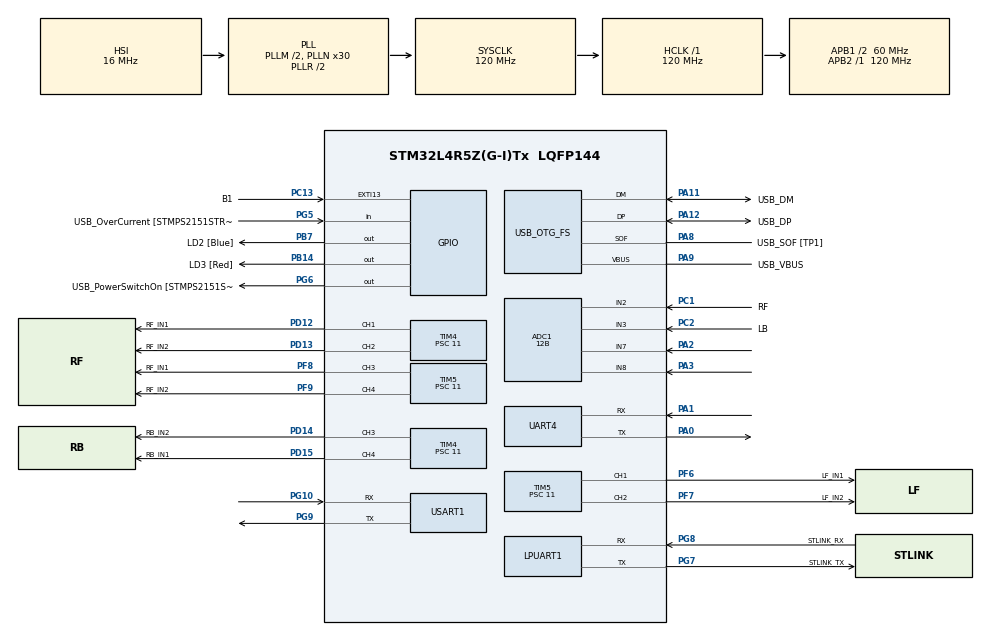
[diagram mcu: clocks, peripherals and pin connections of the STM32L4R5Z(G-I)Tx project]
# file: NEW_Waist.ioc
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ADC1.Channel-1\#ChannelRegularConversion=ADC_CHANNEL_2
ADC1.Channel-2\#ChannelRegularConversion=ADC_CHANNEL_3
ADC1.Channel-3\#ChannelRegularConversion=ADC_CHANNEL_7
ADC1.Channel-4\#ChannelRegularConversion=ADC_CHANNEL_8
ADC1.ClockPrescaler=ADC_CLOCK_ASYNC_DIV4
ADC1.ContinuousConvMode=ENABLE
ADC1.DMAContinuousRequests=ENABLE
ADC1.EOCSelection=ADC_EOC_SEQ_CONV
ADC1.NbrOfConversion=4
ADC1.NbrOfConversionFlag=1
ADC1.OffsetNumber-1\#ChannelRegularConversion=ADC_OFFSET_NONE
ADC1.OffsetNumber-2\#ChannelRegularConversion=ADC_OFFSET_NONE
ADC1.OffsetNumber-3\#ChannelRegularConversion=ADC_OFFSET_NONE
ADC1.OffsetNumber-4\#ChannelRegularConversion=ADC_OFFSET_NONE
ADC1.Overrun=ADC_OVR_DATA_OVERWRITTEN
ADC1.Rank-1\#ChannelRegularConversion=1
ADC1.Rank-2\#ChannelRegularConversion=2
ADC1.Rank-3\#ChannelRegularConversion=3
ADC1.Rank-4\#ChannelRegularConversion=4
ADC1.Resolution=ADC_RESOLUTION_12B
ADC1.SamplingTime-1\#ChannelRegularConversion=ADC_SAMPLETIME_24CYCLES_5
ADC1.SamplingTime-2\#ChannelRegularConversion=ADC_SAMPLETIME_24CYCLES_5
ADC1.SamplingTime-3\#ChannelRegularConversion=ADC_SAMPLETIME_2CYCLES_5
ADC1.SamplingTime-4\#ChannelRegularConversion=ADC_SAMPLETIME_2CYCLES_5
ADC1.master=1
Dma.ADC1.0.Direction=DMA_PERIPH_TO_MEMORY
Dma.ADC1.0.EventEnable=DISABLE
Dma.ADC1.0.Instance=DMA1_Channel1
Dma.ADC1.0.MemDataAlignment=DMA_MDATAALIGN_HALFWORD
Dma.ADC1.0.MemInc=DMA_MINC_ENABLE
Dma.ADC1.0.Mode=DMA_CIRCULAR
Dma.ADC1.0.PeriphDataAlignment=DMA_PDATAALIGN_HALFWORD
Dma.ADC1.0.PeriphInc=DMA_PINC_DISABLE
Dma.ADC1.0.Polarity=HAL_DMAMUX_REQUEST_GEN_RISING
Dma.ADC1.0.Priority=DMA_PRIORITY_LOW
Dma.ADC1.0.RequestNumber=1
Dma.ADC1.0.SignalID=NONE
Dma.ADC1.0.SyncEnable=DISABLE
Dma.ADC1.0.SyncPolarity=HAL_DMAMUX_SYNC_NO_EVENT
Dma.ADC1.0.SyncRequestNumber=1
Dma.ADC1.0.SyncSignalID=NONE
Dma.LPUART1_RX.1.Direction=DMA_PERIPH_TO_MEMORY
Dma.LPUART1_RX.1.EventEnable=DISABLE
Dma.LPUART1_RX.1.Instance=DMA1_Channel2
Dma.LPUART1_RX.1.MemDataAlignment=DMA_MDATAALIGN_BYTE
Dma.LPUART1_RX.1.MemInc=DMA_MINC_ENABLE
Dma.LPUART1_RX.1.Mode=DMA_NORMAL
Dma.LPUART1_RX.1.PeriphDataAlignment=DMA_PDATAALIGN_BYTE
Dma.LPUART1_RX.1.PeriphInc=DMA_PINC_DISABLE
Dma.LPUART1_RX.1.Polarity=HAL_DMAMUX_REQUEST_GEN_RISING
Dma.LPUART1_RX.1.Priority=DMA_PRIORITY_LOW
Dma.LPUART1_RX.1.RequestNumber=1
Dma.LPUART1_RX.1.SignalID=NONE
Dma.LPUART1_RX.1.SyncEnable=DISABLE
Dma.LPUART1_RX.1.SyncPolarity=HAL_DMAMUX_SYNC_NO_EVENT
Dma.LPUART1_RX.1.SyncRequestNumber=1
Dma.LPUART1_RX.1.SyncSignalID=NONE
Dma.Request0=ADC1
Dma.Request1=LPUART1_RX
FREERTOS.Tasks01=defaultTask,24,128,StartDefaultTask,Default,NULL,Dynamic,NULL,NULL;pidControlTask,48,128,ControlFunction,Default,NULL,Dynamic,NULL,NULL
FREERTOS.configENABLE_FPU=1
FREERTOS.configTOTAL_HEAP_SIZE=1024*50
LPUART1.WordLength=UART_WORDLENGTH_8B
Mcu.Family=STM32L4
Mcu.Name=STM32L4R5Z(G-I)Tx
Mcu.Package=LQFP144
NVIC.ADC1_IRQn=true\:5\:0\:false\:false\:true\:true\:true\:true\:true
NVIC.DMA1_Channel1_IRQn=true\:10\:0\:true\:false\:true\:true\:true\:true\:true
NVIC.LPUART1_IRQn=true\:8\:0\:true\:false\:true\:true\:true\:true\:true
NVIC.PriorityGroup=NVIC_PRIORITYGROUP_4
NVIC.TIM6_DAC_IRQn=true\:15\:0\:false\:false\:true\:false\:false\:true\:true
NVIC.TimeBase=TIM6_DAC_IRQn
NVIC.TimeBaseIP=TIM6
NVIC.UART4_IRQn=true\:7\:0\:true\:false\:true\:true\:true\:true\:true
NVIC.USART1_IRQn=true\:7\:0\:true\:false\:true\:true\:true\:true\:true
PA0.Mode=Asynchronous
PA0.Signal=UART4_TX
PA1.Mode=Asynchronous
PA1.Signal=UART4_RX
PA10.GPIO_Label=USB_ID
PA10.Signal=USB_OTG_FS_ID
PA11.GPIO_Label=USB_DM
PA11.Mode=Device_Only
PA11.Signal=USB_OTG_FS_DM
PA12.GPIO_Label=USB_DP
PA12.Mode=Device_Only
PA12.Signal=USB_OTG_FS_DP
PA13\ (JTMS/SWDIO).GPIO_Label=TMS
PA13\ (JTMS/SWDIO).Mode=Trace_Asynchronous_SW
PA13\ (JTMS/SWDIO).Signal=SYS_JTMS-SWDIO
PA14\ (JTCK/SWCLK).GPIO_Label=TCK
PA14\ (JTCK/SWCLK).Mode=Trace_Asynchronous_SW
PA14\ (JTCK/SWCLK).Signal=SYS_JTCK-SWCLK
PA2.Signal=ADCx_IN7
PA3.Signal=ADCx_IN8
PA8.GPIO_Label=USB_SOF [TP1]
PA8.Mode=Activate_SOF_FS
PA8.Signal=USB_OTG_FS_SOF
PA9.GPIO_Label=USB_VBUS
PA9.Mode=Activate_VBUS
PA9.Signal=USB_OTG_FS_VBUS
PB14.GPIO_Label=LD3 [Red]
PB14.Signal=GPIO_Output
PB3\ (JTDO/TRACESWO).GPIO_Label=SWO
PB3\ (JTDO/TRACESWO).Mode=Trace_Asynchronous_SW
PB3\ (JTDO/TRACESWO).Signal=SYS_JTDO-SWO
PB7.GPIO_Label=LD2 [Blue]
PB7.Signal=GPIO_Output
PC1.GPIO_Label=RF
PC1.Signal=ADCx_IN2
PC13.GPIO_Label=B1
PC13.Signal=GPXTI13
PC14-OSC32_IN\ (PC14).Mode=LSE-External-Oscillator
PC14-OSC32_IN\ (PC14).Signal=RCC_OSC32_IN
PC15-OSC32_OUT\ (PC15).Mode=LSE-External-Oscillator
PC15-OSC32_OUT\ (PC15).Signal=RCC_OSC32_OUT
PC2.GPIO_Label=LB
PC2.Signal=ADCx_IN3
PD12.GPIO_Label=RF_IN1
PD12.GPIO_Speed=GPIO_SPEED_FREQ_HIGH
PD12.Signal=S_TIM4_CH1
PD13.GPIO_Label=RF_IN2
PD13.GPIO_Speed=GPIO_SPEED_FREQ_HIGH
PD13.Signal=S_TIM4_CH2
PD14.GPIO_Label=RB_IN2
PD14.GPIO_Speed=GPIO_SPEED_FREQ_HIGH
PD14.Signal=S_TIM4_CH3
PD15.GPIO_Label=RB_IN1
PD15.GPIO_Speed=GPIO_SPEED_FREQ_HIGH
PD15.Signal=S_TIM4_CH4
PD8.GPIO_Label=STLK_RX [STM32F103CBT6_PA3]
PD8.Signal=USART3_TX
PF6.GPIO_Label=LF_IN1
PF6.GPIO_Speed=GPIO_SPEED_FREQ_HIGH
PF6.Signal=S_TIM5_CH1
PF7.GPIO_Label=LF_IN2
PF7.GPIO_Speed=GPIO_SPEED_FREQ_HIGH
PF7.Signal=S_TIM5_CH2
PF8.GPIO_Label=RF_IN1
PF8.GPIO_Speed=GPIO_SPEED_FREQ_HIGH
PF8.Signal=S_TIM5_CH3
PF9.GPIO_Label=RF_IN2
PF9.GPIO_Speed=GPIO_SPEED_FREQ_HIGH
PF9.Signal=S_TIM5_CH4
PG10.Mode=Asynchronous
PG10.Signal=USART1_RX
PG5.GPIO_Label=USB_OverCurrent [STMPS2151STR_FAULT]
PG5.Signal=GPIO_Input
PG6.GPIO_Label=USB_PowerSwitchOn [STMPS2151STR_EN]
PG6.Signal=GPIO_Output
PG7.GPIO_Label=STLINK_TX
PG7.Mode=Asynchronous
PG7.Signal=LPUART1_TX
PG8.GPIO_Label=STLINK_RX
PG8.Mode=Asynchronous
PG8.Signal=LPUART1_RX
PG9.Mode=Asynchronous
PG9.Signal=USART1_TX
PH0-OSC_IN\ (PH0).Signal=RCC_OSC_IN
PH1-OSC_OUT\ (PH1).Signal=RCC_OSC_OUT
ProjectManager.HeapSize=0x200
ProjectManager.StackSize=0x400
ProjectManager.TargetToolchain=MDK-ARM V5.32
RCC.48MHZClocksFreq_Value=24000000
RCC.ADCFreq_Value=96000000
RCC.AHBFreq_Value=120000000
RCC.APB1CLKDivider=RCC_HCLK_DIV2
RCC.APB1Freq_Value=60000000
RCC.APB1TimFreq_Value=120000000
RCC.APB2Freq_Value=120000000
RCC.APB2TimFreq_Value=120000000
RCC.CK48CLockSelection=RCC_USBCLKSOURCE_HSI48
RCC.CortexFreq_Value=120000000
RCC.HCLKFreq_Value=120000000
RCC.HSE_VALUE=8000000
RCC.HSI48_VALUE=48000000
RCC.HSI_VALUE=16000000
RCC.MSI_VALUE=4000000
RCC.PLLM1=2
RCC.PLLMUL=RCC_PLL_MUL9
RCC.PLLN=30
RCC.PLLSAI1N=12
RCC.PLLSourceVirtual=RCC_PLLSOURCE_HSI
RCC.PRESCALERUSB=RCC_USBCLKSOURCE_PLL_DIV1_5
RCC.SYSCLKFreq_VALUE=120000000
RCC.SYSCLKSource=RCC_SYSCLKSOURCE_PLLCLK
RCC.SYSCLKSourceVirtual=RCC_SYSCLKSOURCE_PLLCLK
RCC.USBFreq_Value=48000000
RCC.VCOOutputFreq_Value=240000000
SH.ADCx_IN2.0=ADC1_IN2,IN2-Single-Ended
SH.ADCx_IN3.0=ADC1_IN3,IN3-Single-Ended
SH.ADCx_IN7.0=ADC1_IN7,IN7-Single-Ended
SH.ADCx_IN8.0=ADC1_IN8,IN8-Single-Ended
SH.S_TIM4_CH1.0=TIM4_CH1,PWM Generation1 CH1
SH.S_TIM4_CH2.0=TIM4_CH2,PWM Generation2 CH2
SH.S_TIM4_CH3.0=TIM4_CH3,PWM Generation3 CH3
SH.S_TIM4_CH4.0=TIM4_CH4,PWM Generation4 CH4
SH.S_TIM5_CH1.0=TIM5_CH1,PWM Generation1 CH1
SH.S_TIM5_CH2.0=TIM5_CH2,PWM Generation2 CH2
SH.S_TIM5_CH3.0=TIM5_CH3,PWM Generation3 CH3
SH.S_TIM5_CH4.0=TIM5_CH4,PWM Generation4 CH4
TIM4.Channel-PWM\ Generation1\ CH1=TIM_CHANNEL_1
TIM4.Channel-PWM\ Generation2\ CH2=TIM_CHANNEL_2
TIM4.Channel-PWM\ Generation3\ CH3=TIM_CHANNEL_3
TIM4.Channel-PWM\ Generation4\ CH4=TIM_CHANNEL_4
TIM4.OCMode_PWM-PWM\ Generation1\ CH1=TIM_OCMODE_PWM1
TIM4.OCMode_PWM-PWM\ Generation2\ CH2=TIM_OCMODE_PWM1
TIM4.OCMode_PWM-PWM\ Generation3\ CH3=TIM_OCMODE_PWM1
TIM4.OCMode_PWM-PWM\ Generation4\ CH4=TIM_OCMODE_PWM1
TIM4.Period=1000-1
TIM4.Prescaler=11
TIM5.Channel-PWM\ Generation1\ CH1=TIM_CHANNEL_1
TIM5.Channel-PWM\ Generation2\ CH2=TIM_CHANNEL_2
TIM5.Channel-PWM\ Generation3\ CH3=TIM_CHANNEL_3
TIM5.Channel-PWM\ Generation4\ CH4=TIM_CHANNEL_4
TIM5.Period=999
TIM5.Prescaler=11
USART1.VirtualMode-Asynchronous=VM_ASYNC
USB_OTG_FS.VirtualMode=Device_Only
VP_ADC1_Vref_Input.Mode=IN-Vrefint
VP_FREERTOS_VS_CMSIS_V2.Mode=CMSIS_V2
VP_SYS_VS_tim6.Mode=TIM6
board=NUCLEO-L4R5ZI

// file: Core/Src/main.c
/* USER CODE BEGIN Header */
/**
  ******************************************************************************
  * @file           : main.c
  * @brief          : Main program body
  ******************************************************************************
  * @attention
  *
  * Copyright (c) 2026 STMicroelectronics.
  * All rights reserved.
  *
  * This software is licensed under terms that can be found in the LICENSE file
  * in the root directory of this software component.
  * If no LICENSE file comes with this software, it is provided AS-IS.
  *
  ******************************************************************************
  */
/* USER CODE END Header */
#include "main.h"
#include "cmsis_os.h"
#include "adc.h"
#include "dma.h"
#include "usart.h"
#include "tim.h"
#include "usb_otg.h"
#include "gpio.h"

/* USER CODE BEGIN Includes */
#include "driver_shell.h"
/* USER CODE END Includes */

/* USER CODE BEGIN PV */
uint8_t shell_buff[64];
/* USER CODE END PV */

void SystemClock_Config(void);
void MX_FREERTOS_Init(void);

int main(void)
{

  /* MCU Configuration--------------------------------------------------------*/

  /* Reset of all peripherals, Initializes the Flash interface and the Systick. */
  HAL_Init();

  /* Configure the system clock */
  SystemClock_Config();

  /* Initialize all configured peripherals */
  MX_GPIO_Init();
  MX_DMA_Init();
  MX_ADC1_Init();
  MX_LPUART1_UART_Init();
  MX_TIM4_Init();
  MX_USB_OTG_FS_PCD_Init();
  MX_UART4_Init();
  MX_TIM5_Init();
  MX_USART1_UART_Init();
  /* USER CODE BEGIN 2 */
	HAL_UARTEx_ReceiveToIdle_DMA(&hlpuart1, shell_buff, sizeof(shell_buff));
  /* USER CODE END 2 */

  /* Init scheduler */
  osKernelInitialize();

  /* Call init function for freertos objects (in cmsis_os2.c) */
  MX_FREERTOS_Init();

  /* Start scheduler */
  osKernelStart();

  /* We should never get here as control is now taken by the scheduler */

  /* Infinite loop */
  while (1)
  {

  }
}

void SystemClock_Config(void)
{
  RCC_OscInitTypeDef RCC_OscInitStruct = {0};
  RCC_ClkInitTypeDef RCC_ClkInitStruct = {0};

  /** Configure the main internal regulator output voltage
  */
  if (HAL_PWREx_ControlVoltageScaling(PWR_REGULATOR_VOLTAGE_SCALE1_BOOST) != HAL_OK)
  {
    Error_Handler();
  }

  /** Initializes the RCC Oscillators according to the specified parameters
  * in the RCC_OscInitTypeDef structure.
  */
  RCC_OscInitStruct.OscillatorType = RCC_OSCILLATORTYPE_HSI48|RCC_OSCILLATORTYPE_HSI;
  RCC_OscInitStruct.HSIState = RCC_HSI_ON;
  RCC_OscInitStruct.HSI48State = RCC_HSI48_ON;
  RCC_OscInitStruct.HSICalibrationValue = RCC_HSICALIBRATION_DEFAULT;
  RCC_OscInitStruct.PLL.PLLState = RCC_PLL_ON;
  RCC_OscInitStruct.PLL.PLLSource = RCC_PLLSOURCE_HSI;
  RCC_OscInitStruct.PLL.PLLM = 2;
  RCC_OscInitStruct.PLL.PLLN = 30;
  RCC_OscInitStruct.PLL.PLLP = RCC_PLLP_DIV2;
  RCC_OscInitStruct.PLL.PLLQ = RCC_PLLQ_DIV2;
  RCC_OscInitStruct.PLL.PLLR = RCC_PLLR_DIV2;
  if (HAL_RCC_OscConfig(&RCC_OscInitStruct) != HAL_OK)
  {
    Error_Handler();
  }

  /** Initializes the CPU, AHB and APB buses clocks
  */
  RCC_ClkInitStruct.ClockType = RCC_CLOCKTYPE_HCLK|RCC_CLOCKTYPE_SYSCLK
                              |RCC_CLOCKTYPE_PCLK1|RCC_CLOCKTYPE_PCLK2;
  RCC_ClkInitStruct.SYSCLKSource = RCC_SYSCLKSOURCE_PLLCLK;
  RCC_ClkInitStruct.AHBCLKDivider = RCC_SYSCLK_DIV1;
  RCC_ClkInitStruct.APB1CLKDivider = RCC_HCLK_DIV2;
  RCC_ClkInitStruct.APB2CLKDivider = RCC_HCLK_DIV1;

  if (HAL_RCC_ClockConfig(&RCC_ClkInitStruct, FLASH_LATENCY_5) != HAL_OK)
  {
    Error_Handler();
  }
}

void HAL_TIM_PeriodElapsedCallback(TIM_HandleTypeDef *htim)
{
  if (htim->Instance == TIM6) {
    HAL_IncTick();
  }
}

void Error_Handler(void)
{
  __disable_irq();
  while (1)
  {
  }
}

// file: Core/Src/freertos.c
/* USER CODE BEGIN Header */
/**
 ******************************************************************************
 * File Name          : freertos.c
 * Description        : Code for freertos applications
 ******************************************************************************
 * @attention
 *
 * Copyright (c) 2026 STMicroelectronics.
 * All rights reserved.
 *
 * This software is licensed under terms that can be found in the LICENSE file
 * in the root directory of this software component.
 * If no LICENSE file comes with this software, it is provided AS-IS.
 *
 ******************************************************************************
 */
/* USER CODE END Header */

#include "FreeRTOS.h"
#include "task.h"
#include "main.h"
#include "cmsis_os.h"

/* USER CODE BEGIN Includes */
#include "driver_actuator.h"
#include "driver_shell.h"
#include "driver_frame.h"
#include "driver_log.h"
#include "driver_ESP01s.h"

#include "Alg_pid.h"

#include "adc.h"
#include "dma.h"
/* USER CODE END Includes */

/* USER CODE BEGIN Variables */
ActuatorDevice ActuatorRF, ActuatorRB, ActuatorLB, ActuatorLF;
PID_Controller ActuatorRf_Pid, ActuatorRb_Pid, ActuatorLb_Pid, ActuatorLf_Pid;
volatile uint16_t AdcRec[4] = {0};
ESP8266_Device esp8266;

QueueSetHandle_t g_control_set;
/* USER CODE END Variables */
/* Definitions for defaultTask */
osThreadId_t defaultTaskHandle;
const osThreadAttr_t defaultTask_attributes = {
  .name = "defaultTask",
  .stack_size = 128 * 4,
  .priority = (osPriority_t) osPriorityNormal,
};
/* Definitions for pidControlTask */
osThreadId_t pidControlTaskHandle;
const osThreadAttr_t pidControlTask_attributes = {
  .name = "pidControlTask",
  .stack_size = 128 * 4,
  .priority = (osPriority_t) osPriorityRealtime,
};

void StartDefaultTask(void *argument);
void ControlFunction(void *argument);

void MX_FREERTOS_Init(void); /* (MISRA C 2004 rule 8.1) */

void MX_FREERTOS_Init(void) {
  /* USER CODE BEGIN Init */
  HAL_ADC_MspInit(&hadc1);
  HAL_ADC_Start_DMA(&hadc1, (uint32_t *)AdcRec, 4);
  Actuator_Init(&ActuatorRF, &htim4, TIM_CHANNEL_4, TIM_CHANNEL_3, 1000);
  Actuator_Init(&ActuatorRB, &htim4, TIM_CHANNEL_1, TIM_CHANNEL_2, 1000);
  Actuator_Init(&ActuatorLF, &htim5, TIM_CHANNEL_1, TIM_CHANNEL_2, 1000);
  Actuator_Init(&ActuatorLB, &htim5, TIM_CHANNEL_3, TIM_CHANNEL_4, 1000);
  PID_Init(&ActuatorRf_Pid, 10, 0.5, 0, 0.01, 1000, -1000, 1.0);
  PID_Init(&ActuatorRb_Pid, 10, 0.5, 0, 0.01, 1000, -1000, 1.0);
  PID_Init(&ActuatorLf_Pid, 10, 0.5, 0, 0.01, 1000, -1000, 1.0);
  PID_Init(&ActuatorLb_Pid, 10, 0.5, 0, 0.01, 1000, -1000, 1.0);
  /* USER CODE END Init */

  /* USER CODE BEGIN RTOS_QUEUES */
	g_control_set = xQueueCreateSet(SHELL_QUE_SIZE + FRAME_QUE_SIZE);
  /* USER CODE END RTOS_QUEUES */

  /* Create the thread(s) */
  /* creation of defaultTask */
  defaultTaskHandle = osThreadNew(StartDefaultTask, NULL, &defaultTask_attributes);

  /* creation of pidControlTask */
  pidControlTaskHandle = osThreadNew(ControlFunction, NULL, &pidControlTask_attributes);

  /* USER CODE BEGIN RTOS_THREADS */
  xPrintInit(osPriorityBelowNormal);
	xShellInit(osPriorityNormal);
	xFrameInit(osPriorityNormal);
  /* USER CODE END RTOS_THREADS */

}

void StartDefaultTask(void *argument)
{
  /* USER CODE BEGIN StartDefaultTask */
#ifdef STACK_PRINT
	UBaseType_t uxHighWaterMark = uxTaskGetStackHighWaterMark(NULL);
#endif
  ESP8266_Init(&esp8266, &huart1);
  ESP8266_AP_Config ap_config = {
      .ssid = "EnvMonitor",
      .pwd = "12345678",
      .channel = 6,
      .encryption = 2
  };
  ESP8266_InitAP(&esp8266, &ap_config);
  ESP8266_CreateTCPServer(&esp8266, 8080);
	float dt = 0;
  /* Infinite loop */
  for (;;)
  {
    HAL_GPIO_TogglePin(LD2_GPIO_Port, LD2_Pin);
		dt++;
		if(dt > 100)
			dt = 0;
		// 如果连接成功上传数据
		if(esp8266.link_id != 0xFF) {
			Upload_Data(&esp8266, dt, dt/2, dt/4, dt/6);
    }
#ifdef STACK_PRINT
    uint32_t ulStackRemaining = uxHighWaterMark * 4;
		DEBUG_INFO("%d bytes short of overflow.\r\n", ulStackRemaining);
#endif
    vTaskDelay(500);
  }
  /* USER CODE END StartDefaultTask */
}

void ControlFunction(void *argument)
{
  /* USER CODE BEGIN ControlFunction */
#ifdef STACK_PRINT
	UBaseType_t uxHighWaterMark = uxTaskGetStackHighWaterMark(NULL);
#endif
  TickType_t xLastWakeTime;
  const TickType_t xTaskPeriod = pdMS_TO_TICKS(10);
  xLastWakeTime = xTaskGetTickCount();
	ActuatorTarget current_target = {50.0,50.0,50.0,50.0};
	QueueSetMemberHandle_t xQueueHandle;
	//
  /* Infinite loop */
  for (;;)
  {
		xQueueHandle = xQueueSelectFromSet(g_control_set, 0);

		/* 读队列句柄得到数据,处理数据 */
		if (xQueueHandle == get_shellQueueHandle())
		{
			xQueueReceive(get_shellQueueHandle(), &current_target, 0);
			DEBUG_INFO("From shell Target Received: %.2f,%.2f,%.2f,%.2f\n",
							current_target.RbTarget,
							current_target.RfTarget,
							current_target.LfTarget,
							current_target.LbTarget);
		}	else if(xQueueHandle == get_FrameQueueHandle()){
			xQueueReceive(get_FrameQueueHandle(), &current_target, 0);
			DEBUG_INFO("From Frame Target Received: %.2f,%.2f,%.2f,%.2f\n", current_target.RbTarget,
																			current_target.RfTarget,
																			current_target.LfTarget,
																			current_target.LbTarget);
		}

//		if (xQueueReceive(get_shellQueueHandle(), &current_target, 0) == pdPASS) {
//			DEBUG_INFO("Target Received: %.2f\n", current_target.RbTarget);
//		}
      PID_SetTarget(&ActuatorRb_Pid, current_target.RbTarget);
      PID_Compute(&ActuatorRb_Pid, ActuatorRB.current_pos_mm);
      Actuator_Control(&ActuatorRB, ActuatorRb_Pid.output);

      PID_SetTarget(&ActuatorRf_Pid, current_target.RfTarget);
      PID_Compute(&ActuatorRf_Pid, ActuatorRF.current_pos_mm);
      Actuator_Control(&ActuatorRF, ActuatorRf_Pid.output);

      PID_SetTarget(&ActuatorLf_Pid, current_target.LfTarget);
      PID_Compute(&ActuatorLf_Pid, ActuatorLF.current_pos_mm);
      Actuator_Control(&ActuatorLF, ActuatorLf_Pid.output);

      PID_SetTarget(&ActuatorLb_Pid, current_target.LbTarget);
      PID_Compute(&ActuatorLb_Pid, ActuatorLB.current_pos_mm);
      Actuator_Control(&ActuatorLB, ActuatorLb_Pid.output);
#ifdef STACK_PRINT
    uint32_t ulStackRemaining = uxHighWaterMark * 4;
		DEBUG_INFO("%d bytes short of overflow.\r\n", ulStackRemaining);
#endif
    vTaskDelayUntil(&xLastWakeTime, xTaskPeriod);
  }
  /* USER CODE END ControlFunction */
}
